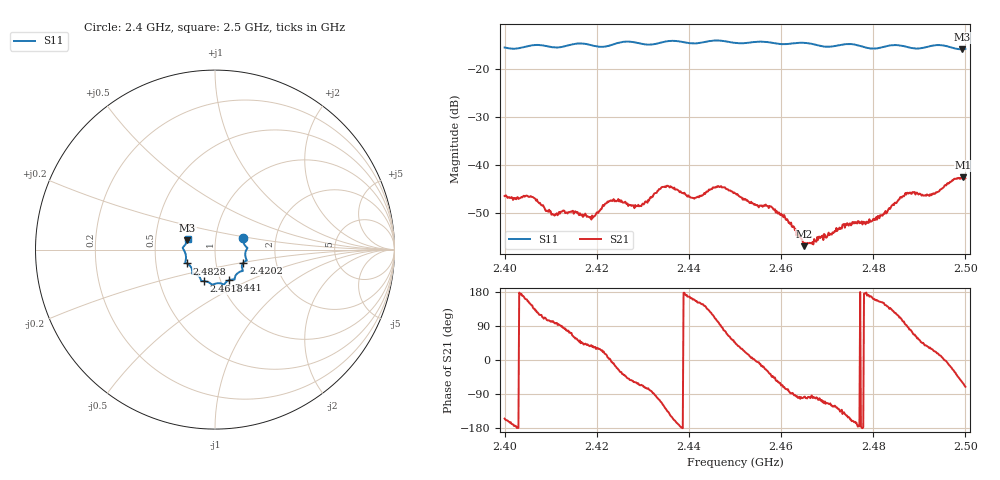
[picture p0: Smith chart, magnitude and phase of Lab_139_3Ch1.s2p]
# Hz S RI R 50
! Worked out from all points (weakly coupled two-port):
!   601 points, 2.4 GHz to 2.5 GHz, reference 50 ohm
!   highest |S21| = -42.62 dB at 2.4995 GHz (marker M1); lowest = -57.0 dB at 2.465 GHz (marker M2)
!   lowest |S11| = -15.8 dB at 2.4993 GHz (marker M3), VSWR 1.39, Z = 36.5 + j3.89 ohm
!   |S11| at or under -10 dB: start of sweep to end of sweep
!   S12 and S22 are empty: the file has one direction only
!   S11 on the Smith chart (normalised r, x): 2.4 GHz: 1.36, +0.17; 2.4202 GHz: 1.36, -0.20; 2.441 GHz: 1.10, -0.39; 2.4618 GHz: 0.84, -0.30; 2.4828 GHz: 0.72, -0.11; 2.5 GHz: 0.73, +0.09
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2.4e9  0.1581 0.0619  -0.00426 -0.00202  0 0  0 0
2.406e9  0.1789 0.0111  -0.00374 0.00271  0 0  0 0
2.410667e9  0.1697 -0.0137  -0.000511 0.00297  0 0  0 0
2.416667e9  0.1769 -0.0605  0.002 0.00218  0 0  0 0
2.420167e9  0.158 -0.072  0.00276 0.00159  0 0  0 0
2.423167e9  0.15 -0.0997  0.00423 -0.000355  0 0  0 0
2.429667e9  0.139 -0.1233  0.00153 -0.00337  0 0  0 0
2.433333e9  0.1118 -0.1509  -0.00112 -0.00526  0 0  0 0
2.435667e9  0.1093 -0.1656  -0.0045 -0.00385  0 0  0 0
2.441e9  0.0781 -0.1703  -0.00422 0.00153  0 0  0 0
2.4465e9  0.0488 -0.1948  -0.000804 0.00587  0 0  0 0
2.45e9  0.0277 -0.1875  0.00347 0.00368  0 0  0 0
2.461833e9  -0.0598 -0.1758  0.000251 -0.00248  0 0  0 0
2.465e9  -0.076 -0.1741  -0.000179 -0.0014  0 0  0 0
2.466667e9  -0.0786 -0.1677  -9.59e-05 -0.00149  0 0  0 0
2.482833e9  -0.1572 -0.0768  -0.00252 0.00182  0 0  0 0
2.483333e9  -0.1603 -0.0755  -0.0026 0.00227  0 0  0 0
2.4875e9  -0.1621 -0.0544  0.000296 0.0051  0 0  0 0
2.492333e9  -0.1754 0.000499  0.00413 0.00266  0 0  0 0
2.499333e9  -0.154 0.0519  0.0037 -0.00611  0 0  0 0
2.4995e9  -0.1535 0.0541  0.00349 -0.00652  0 0  0 0
2.5e9  -0.1525 0.0611  0.00241 -0.00685  0 0  0 0
